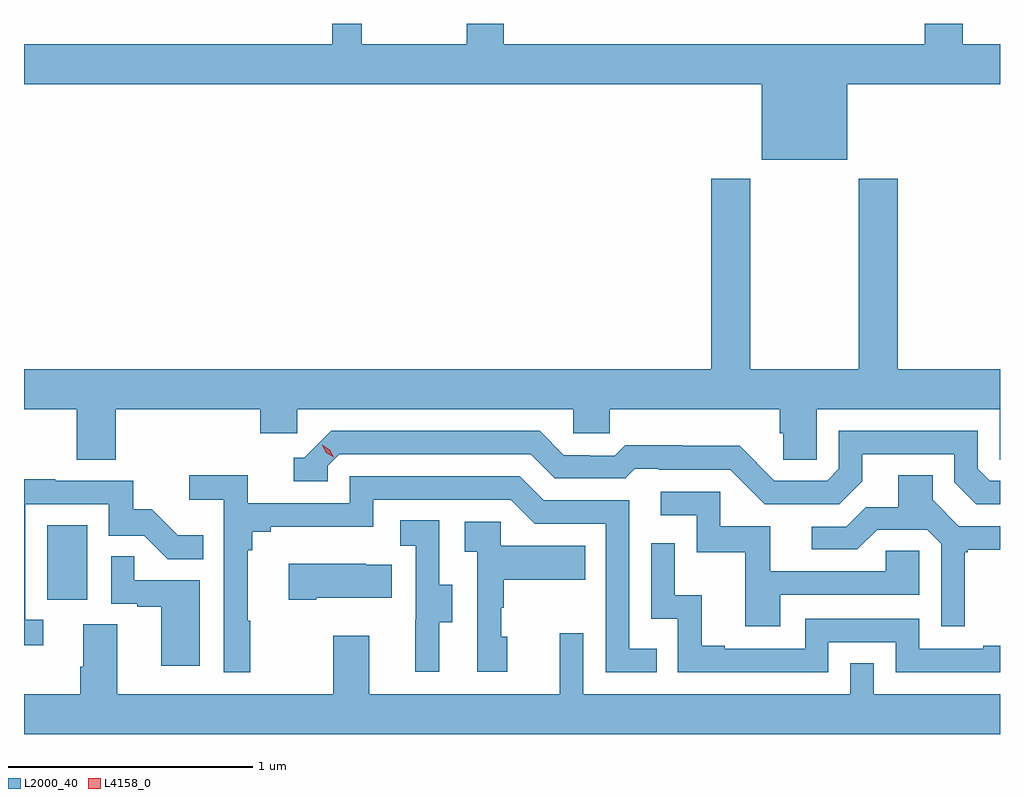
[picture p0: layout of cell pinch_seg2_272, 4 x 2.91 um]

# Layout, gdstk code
import gdstk
lib = gdstk.Library(unit=1e-6, precision=1e-09)
def R(c, l, rs):  # rectangles x0, y0, x1, y1
    for r in rs: c.add(gdstk.rectangle(r[:2], r[2:], *l))
def P(c, l, *ps):  # polygons
    for p in ps: c.add(gdstk.Polygon(p, *l))
L2000_40 = (2000, 40)
L4158_0 = (4158, 0)

pinch_seg2_272 = lib.new_cell('pinch_seg2_272')
R(pinch_seg2_272, L2000_40, [(896.81,654.846,896.974,655.153)])
P(pinch_seg2_272, L2000_40, [(900.088,656.96),(900.715,656.96),(900.715,657.124),(900.563,657.124),(900.563,657.207),(900.407,657.207),(900.407,657.124),(898.682,657.124),(898.682,657.207),(898.529,657.207),(898.529,657.124),(898.099,657.124),(898.099,657.207),(897.978,657.207),(897.978,657.124),(896.715,657.124),(896.715,656.96),(899.738,656.96),(899.738,656.651),(900.088,656.651)],
  [(897.092,655.628),(897.683,655.628),(897.683,655.53),(897.834,655.53),(897.834,655.628),(898.965,655.628),(898.965,655.53),(899.115,655.53),(899.115,655.628),(899.813,655.628),(899.813,655.53),(899.827,655.53),(899.827,655.42),(899.964,655.42),(899.964,655.628),(900.714,655.628),(900.714,655.42),(900.715,655.42),(900.715,655.792),(900.296,655.792),(900.296,656.572),(900.136,656.572),(900.136,655.792),(899.691,655.792),(899.691,656.572),(899.531,656.572),(899.531,655.792),(896.715,655.792),(896.715,655.628),(896.932,655.628),(896.932,655.42),(897.092,655.42)],
  [(900.151,655.333),(900.151,655.443),(900.528,655.443),(900.528,655.329),(900.618,655.239),(900.715,655.239),(900.715,655.335),(900.672,655.335),(900.624,655.383),(900.624,655.539),(900.054,655.539),(900.054,655.383),(900.006,655.335),(899.79,655.335),(899.648,655.477),(899.412,655.477),(899.412,655.48),(899.179,655.48),(899.137,655.437),(899.034,655.437),(899.034,655.44),(898.927,655.44),(898.828,655.539),(897.975,655.539),(897.864,655.428),(897.821,655.428),(897.821,655.332),(897.96,655.332),(897.96,655.395),(898.008,655.443),(898.791,655.443),(898.89,655.344),(899.179,655.344),(899.218,655.383),(899.317,655.383),(899.317,655.38),(899.61,655.38),(899.751,655.239),(900.057,655.239)],
  [(897.643,654.761),(897.631,654.761),(897.631,655.049),(897.65,655.049),(897.65,655.126),(897.727,655.126),(897.727,655.145),(898.146,655.145),(898.146,655.257),(898.71,655.257),(898.809,655.158),(899.1,655.158),(899.1,654.549),(899.309,654.549),(899.309,654.645),(899.196,654.645),(899.196,655.254),(898.846,655.254),(898.747,655.353),(898.05,655.353),(898.05,655.242),(897.632,655.242),(897.632,655.358),(897.393,655.358),(897.393,655.256),(897.534,655.256),(897.534,654.549),(897.643,654.549)],
  [(900.571,655.041),(900.583,655.041),(900.583,655.052),(900.715,655.052),(900.715,655.149),(900.546,655.149),(900.439,655.256),(900.439,655.358),(900.299,655.358),(900.299,655.226),(900.164,655.226),(900.084,655.146),(899.943,655.146),(899.943,655.053),(900.13,655.053),(900.211,655.134),(900.417,655.134),(900.474,655.077),(900.474,654.738),(900.571,654.738)],
  [(896.794,654.765),(896.721,654.765),(896.721,655.239),(897.063,655.239),(897.063,655.11),(897.207,655.11),(897.305,655.012),(897.449,655.012),(897.449,655.111),(897.345,655.111),(897.238,655.218),(897.162,655.218),(897.162,655.335),(896.843,655.335),(896.843,655.34),(896.715,655.34),(896.715,654.66),(896.794,654.66)],
  [(899.815,654.867),(900.384,654.867),(900.384,655.047),(900.247,655.047),(900.247,654.963),(899.773,654.963),(899.773,655.149),(899.568,655.149),(899.568,655.29),(899.325,655.29),(899.325,655.194),(899.472,655.194),(899.472,655.041),(899.671,655.041),(899.671,654.738),(899.815,654.738)],
  [(898.417,654.754),(898.471,654.754),(898.471,654.909),(898.416,654.909),(898.416,655.172),(898.257,655.172),(898.257,655.069),(898.32,655.069),(898.32,654.765),(898.319,654.765),(898.319,654.552),(898.417,654.552)],
  [(898.696,654.696),(898.671,654.696),(898.671,654.815),(898.681,654.815),(898.681,654.929),(899.015,654.929),(899.015,655.069),(898.668,655.069),(898.668,655.167),(898.521,655.167),(898.521,655.043),(898.572,655.043),(898.572,654.552),(898.696,654.552)],
  [(900.012,654.672),(900.288,654.672),(900.288,654.549),(900.715,654.549),(900.715,654.658),(900.647,654.658),(900.647,654.645),(900.384,654.645),(900.384,654.768),(899.916,654.768),(899.916,654.645),(899.587,654.645),(899.587,654.658),(899.492,654.658),(899.492,654.866),(899.382,654.866),(899.382,655.078),(899.286,655.078),(899.286,654.768),(899.394,654.768),(899.394,654.549),(900.012,654.549)],
  [(897.436,654.927),(897.167,654.927),(897.167,655.025),(897.072,655.025),(897.072,654.831),(897.179,654.831),(897.179,654.819),(897.278,654.819),(897.278,654.576),(897.436,654.576)],
  [(897.913,654.854),(898.223,654.854),(898.223,654.991),(898.115,654.991),(898.115,654.994),(897.801,654.994),(897.801,654.847),(897.913,654.847)],
  [(900.715,654.46),(900.198,654.46),(900.198,654.587),(900.102,654.587),(900.102,654.46),(899.007,654.46),(899.007,654.709),(898.91,654.709),(898.91,654.46),(898.129,654.46),(898.129,654.7),(897.982,654.7),(897.982,654.46),(897.097,654.46),(897.097,654.746),(896.957,654.746),(896.957,654.572),(896.945,654.572),(896.945,654.46),(896.715,654.46),(896.715,654.296),(900.715,654.296)])
P(pinch_seg2_272, L4158_0, [(897.984,655.43),(897.954,655.449),(897.938,655.481),(897.938,655.482),(897.938,655.482),(897.969,655.462),(897.985,655.43),(897.985,655.43)])

lib.write_gds('pinch_seg2_272.gds')
